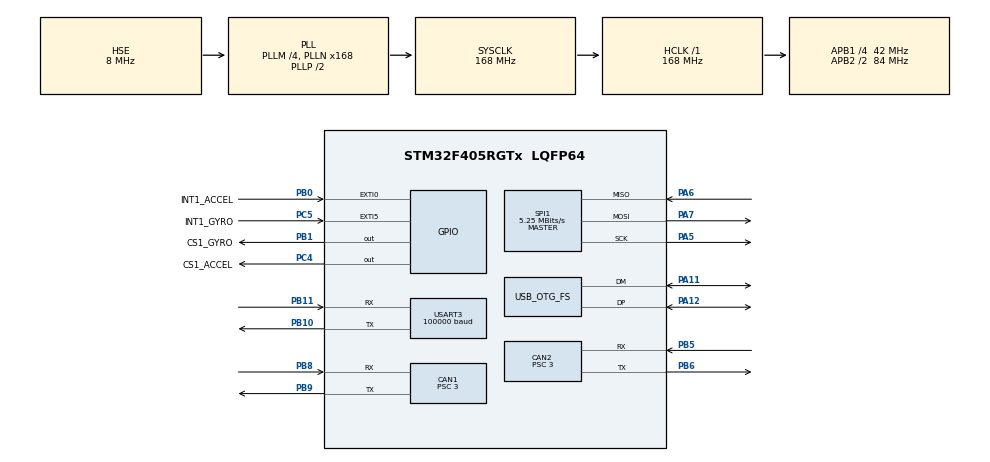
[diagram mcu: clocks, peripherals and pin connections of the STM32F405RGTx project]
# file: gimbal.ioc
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CAN1.ABOM=ENABLE
CAN1.BS1=CAN_BS1_12TQ
CAN1.CalculateBaudRate=1000000
CAN1.CalculateTimeBit=1000
CAN1.CalculateTimeQuantum=71.42857142857143
CAN1.NART=ENABLE
CAN1.Prescaler=3
CAN2.ABOM=ENABLE
CAN2.BS1=CAN_BS1_12TQ
CAN2.CalculateBaudRate=1000000
CAN2.CalculateTimeBit=1000
CAN2.CalculateTimeQuantum=71.42857142857143
CAN2.NART=ENABLE
CAN2.Prescaler=3
Dma.Request0=SPI1_RX
Dma.Request1=SPI1_TX
Dma.Request2=USART3_RX
Dma.SPI1_RX.0.Direction=DMA_PERIPH_TO_MEMORY
Dma.SPI1_RX.0.FIFOMode=DMA_FIFOMODE_DISABLE
Dma.SPI1_RX.0.Instance=DMA2_Stream0
Dma.SPI1_RX.0.MemDataAlignment=DMA_MDATAALIGN_BYTE
Dma.SPI1_RX.0.MemInc=DMA_MINC_ENABLE
Dma.SPI1_RX.0.Mode=DMA_NORMAL
Dma.SPI1_RX.0.PeriphDataAlignment=DMA_PDATAALIGN_BYTE
Dma.SPI1_RX.0.PeriphInc=DMA_PINC_DISABLE
Dma.SPI1_RX.0.Priority=DMA_PRIORITY_HIGH
Dma.SPI1_TX.1.Direction=DMA_MEMORY_TO_PERIPH
Dma.SPI1_TX.1.FIFOMode=DMA_FIFOMODE_DISABLE
Dma.SPI1_TX.1.Instance=DMA2_Stream3
Dma.SPI1_TX.1.MemDataAlignment=DMA_MDATAALIGN_BYTE
Dma.SPI1_TX.1.MemInc=DMA_MINC_ENABLE
Dma.SPI1_TX.1.Mode=DMA_NORMAL
Dma.SPI1_TX.1.PeriphDataAlignment=DMA_PDATAALIGN_BYTE
Dma.SPI1_TX.1.PeriphInc=DMA_PINC_DISABLE
Dma.SPI1_TX.1.Priority=DMA_PRIORITY_HIGH
Dma.USART3_RX.2.Direction=DMA_PERIPH_TO_MEMORY
Dma.USART3_RX.2.FIFOMode=DMA_FIFOMODE_DISABLE
Dma.USART3_RX.2.Instance=DMA1_Stream1
Dma.USART3_RX.2.MemDataAlignment=DMA_MDATAALIGN_BYTE
Dma.USART3_RX.2.MemInc=DMA_MINC_ENABLE
Dma.USART3_RX.2.Mode=DMA_CIRCULAR
Dma.USART3_RX.2.PeriphDataAlignment=DMA_PDATAALIGN_BYTE
Dma.USART3_RX.2.PeriphInc=DMA_PINC_DISABLE
Dma.USART3_RX.2.Priority=DMA_PRIORITY_VERY_HIGH
FREERTOS.Queues01=USBRxQueue,16,10,1,Dynamic,NULL,NULL;RCQueue,16,18,1,Dynamic,NULL,NULL
FREERTOS.Tasks01=gimbal_inPID,35,1024,gimbal_inPIDTask,As weak,NULL,Dynamic,NULL,NULL;bmi088Task,33,1024,Startbmi088Task,As weak,NULL,Dynamic,NULL,NULL;USB_RxTask,31,256,StartUSB_RxTask,As weak,NULL,Dynamic,NULL,NULL;chassis_inPID,32,256,chassis_inPIDTask,As weak,NULL,Dynamic,NULL,NULL;sentry_mode,24,256,StartSentry_modeTask,As weak,NULL,Dynamic,NULL,NULL;RC_Task,32,256,StartRC_Task,As weak,NULL,Dynamic,NULL,NULL
FREERTOS.configTOTAL_HEAP_SIZE=16480
Mcu.Family=STM32F4
Mcu.Name=STM32F405RGTx
Mcu.Package=LQFP64
NVIC.CAN1_RX0_IRQn=true\:5\:0\:true\:false\:true\:true\:true\:true\:true
NVIC.CAN1_TX_IRQn=true\:5\:0\:true\:false\:true\:true\:true\:true\:true
NVIC.CAN2_RX0_IRQn=true\:5\:0\:true\:false\:true\:true\:true\:true\:true
NVIC.CAN2_TX_IRQn=true\:5\:0\:true\:false\:true\:true\:true\:true\:true
NVIC.DMA1_Stream1_IRQn=true\:5\:0\:true\:false\:true\:true\:false\:true\:true
NVIC.DMA2_Stream0_IRQn=true\:5\:0\:false\:false\:true\:true\:false\:true\:true
NVIC.DMA2_Stream3_IRQn=true\:5\:0\:true\:false\:true\:true\:false\:true\:true
NVIC.EXTI0_IRQn=true\:5\:0\:false\:false\:true\:true\:true\:true\:true
NVIC.EXTI9_5_IRQn=true\:5\:0\:true\:false\:true\:true\:true\:true\:true
NVIC.FLASH_IRQn=true\:5\:0\:false\:false\:true\:true\:true\:true\:true
NVIC.FPU_IRQn=true\:5\:0\:false\:false\:true\:true\:true\:false\:true
NVIC.OTG_FS_IRQn=true\:5\:0\:true\:false\:true\:true\:true\:true\:true
NVIC.PVD_IRQn=true\:5\:0\:false\:false\:true\:true\:true\:true\:true
NVIC.PriorityGroup=NVIC_PRIORITYGROUP_4
NVIC.RCC_IRQn=true\:5\:0\:false\:false\:true\:true\:true\:false\:true
NVIC.SPI1_IRQn=true\:5\:0\:false\:false\:true\:true\:true\:true\:true
NVIC.TIM8_TRG_COM_TIM14_IRQn=true\:15\:0\:true\:false\:true\:false\:false\:true\:true
NVIC.TimeBase=TIM8_TRG_COM_TIM14_IRQn
NVIC.TimeBaseIP=TIM14
NVIC.USART3_IRQn=true\:5\:0\:true\:false\:true\:true\:true\:true\:true
PA11.Mode=Device_Only
PA11.Signal=USB_OTG_FS_DM
PA12.Mode=Device_Only
PA12.Signal=USB_OTG_FS_DP
PA13.Mode=Serial_Wire
PA13.Signal=SYS_JTMS-SWDIO
PA14.Mode=Serial_Wire
PA14.Signal=SYS_JTCK-SWCLK
PA5.GPIO_PuPd=GPIO_NOPULL
PA5.Mode=Full_Duplex_Master
PA5.Signal=SPI1_SCK
PA6.GPIO_PuPd=GPIO_NOPULL
PA6.Mode=Full_Duplex_Master
PA6.Signal=SPI1_MISO
PA7.GPIO_PuPd=GPIO_NOPULL
PA7.Mode=Full_Duplex_Master
PA7.Signal=SPI1_MOSI
PB0.GPIO_Label=INT1_ACCEL
PB0.GPIO_ModeDefaultEXTI=GPIO_MODE_IT_FALLING
PB0.GPIO_PuPd=GPIO_NOPULL
PB0.Signal=GPXTI0
PB1.GPIO_Label=CS1_GYRO
PB1.GPIO_ModeDefaultOutputPP=GPIO_MODE_OUTPUT_PP
PB1.GPIO_PuPd=GPIO_NOPULL
PB1.GPIO_Speed=GPIO_SPEED_FREQ_HIGH
PB1.PinState=GPIO_PIN_SET
PB1.Signal=GPIO_Output
PB10.Mode=Asynchronous
PB10.Signal=USART3_TX
PB11.GPIO_ModeDefaultPP=GPIO_MODE_AF_PP
PB11.GPIO_PuPd=GPIO_NOPULL
PB11.Mode=Asynchronous
PB11.Signal=USART3_RX
PB5.Mode=CAN_Activate
PB5.Signal=CAN2_RX
PB6.Mode=CAN_Activate
PB6.Signal=CAN2_TX
PB8.Mode=CAN_Activate
PB8.Signal=CAN1_RX
PB9.Mode=CAN_Activate
PB9.Signal=CAN1_TX
PC4.GPIO_Label=CS1_ACCEL
PC4.GPIO_PuPd=GPIO_NOPULL
PC4.GPIO_Speed=GPIO_SPEED_FREQ_HIGH
PC4.PinState=GPIO_PIN_SET
PC4.Signal=GPIO_Output
PC5.GPIO_Label=INT1_GYRO
PC5.GPIO_ModeDefaultEXTI=GPIO_MODE_IT_FALLING
PC5.GPIO_PuPd=GPIO_NOPULL
PC5.Signal=GPXTI5
PH0-OSC_IN.Mode=HSE-External-Oscillator
PH0-OSC_IN.Signal=RCC_OSC_IN
PH1-OSC_OUT.Mode=HSE-External-Oscillator
PH1-OSC_OUT.Signal=RCC_OSC_OUT
ProjectManager.HeapSize=0x200
ProjectManager.StackSize=0x400
ProjectManager.TargetToolchain=CMake
RCC.48MHZClocksFreq_Value=48000000
RCC.AHBFreq_Value=168000000
RCC.APB1CLKDivider=RCC_HCLK_DIV4
RCC.APB1Freq_Value=42000000
RCC.APB1TimFreq_Value=84000000
RCC.APB2CLKDivider=RCC_HCLK_DIV2
RCC.APB2Freq_Value=84000000
RCC.APB2TimFreq_Value=168000000
RCC.CortexFreq_Value=168000000
RCC.HCLKFreq_Value=168000000
RCC.HSE_VALUE=8000000
RCC.HSI_VALUE=16000000
RCC.LSE_VALUE=32768
RCC.PLLM=4
RCC.PLLN=168
RCC.PLLQ=7
RCC.SYSCLKFreq_VALUE=168000000
RCC.SYSCLKSource=RCC_SYSCLKSOURCE_PLLCLK
RCC.VCOOutputFreq_Value=336000000
SPI1.BaudRatePrescaler=SPI_BAUDRATEPRESCALER_16
SPI1.CLKPhase=SPI_PHASE_2EDGE
SPI1.CLKPolarity=SPI_POLARITY_HIGH
SPI1.CalculateBaudRate=5.25 MBits/s
SPI1.Direction=SPI_DIRECTION_2LINES
SPI1.Mode=SPI_MODE_MASTER
SPI1.VirtualType=VM_MASTER
USART3.BaudRate=100000
USART3.Mode=MODE_RX
USART3.Parity=PARITY_EVEN
USART3.StopBits=STOPBITS_2
USART3.VirtualMode=VM_ASYNC
USART3.WordLength=WORDLENGTH_9B
USB_DEVICE.CLASS_NAME_FS=CDC
USB_DEVICE.VirtualMode-CDC_FS=Cdc
USB_DEVICE.VirtualModeFS=Cdc_FS
USB_OTG_FS.VirtualMode=Device_Only
VP_FREERTOS_VS_CMSIS_V2.Mode=CMSIS_V2
VP_SYS_VS_tim14.Mode=TIM14
VP_USB_DEVICE_VS_USB_DEVICE_CDC_FS.Mode=CDC_FS
board=custom

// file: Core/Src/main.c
/* USER CODE BEGIN Header */
/**
  ******************************************************************************
  * @file           : main.c
  * @brief          : Main program body
  ******************************************************************************
  * @attention
  *
  * Copyright (c) 2026 STMicroelectronics.
  * All rights reserved.
  *
  * This software is licensed under terms that can be found in the LICENSE file
  * in the root directory of this software component.
  * If no LICENSE file comes with this software, it is provided AS-IS.
  *
  ******************************************************************************
  */
/* USER CODE END Header */
#include "main.h"
#include "cmsis_os.h"
#include "can.h"
#include "dma.h"
#include "spi.h"
#include "usart.h"
#include "usb_device.h"
#include "gpio.h"

/* USER CODE BEGIN Includes */
#include "BMI088driver.h"
#include "bsp_Motor.h"
#include "reg.h"
#include "bsp_rc.h"
#include "bsp_uart.h"
#include "gimbal.h"
#include "MyCAN.h"
#include "PID.h"
#include "bsp_bmi088.h"
#include "bsp_delay.h"
/* USER CODE END Includes */

/* USER CODE BEGIN PM */

uint8_t bmi_088_accel_id = 0,bmi_088_gyro_id = 0;
uint8_t *p_bmi_088_accel_id = &bmi_088_accel_id;
uint8_t *p_bmi_088_gyro_id = &bmi_088_gyro_id;

/* USER CODE END PM */

/* USER CODE BEGIN PV */
extern unsigned char sbus_rx_buffer[2][RC_FRAME_LENGTH];
/* USER CODE END PV */

void SystemClock_Config(void);
void MX_FREERTOS_Init(void);

int main(void)
{

  /* MCU Configuration--------------------------------------------------------*/

  /* Reset of all peripherals, Initializes the Flash interface and the Systick. */
  HAL_Init();

  /* Configure the system clock */
  SystemClock_Config();

  /* Initialize all configured peripherals */
  MX_GPIO_Init();
  MX_DMA_Init();
  MX_SPI1_Init();
  MX_CAN1_Init();
  MX_CAN2_Init();
  MX_USART3_UART_Init();
  /* USER CODE BEGIN 2 */
  /*****************************************************************
   *                    各种初始化
   *****************************************************************/
  delay_init();
  CAN_Init(&hcan1);
  CAN_Init(&hcan2);
  BMI088_init();
  // 注册UART5的DT7回调函数到drv_uart
  UART_Init(&huart3,UART3_DT7_Callback,RC_FRAME_LENGTH);

  // 上电PID清零
  PID_Clear(&p_reg->gimbal.yaw_pid.outer);
  PID_Clear(&p_reg->gimbal.yaw_pid.inner);
  PID_Clear(&p_reg->gimbal.pitch_pid.inner);
  PID_Clear(&p_reg->gimbal.pitch_pid.outer);
  PID_Clear(&p_reg->chassis.Speed_X_PID.outer);
  PID_Clear(&p_reg->chassis.Speed_Y_PID.outer);
  // 偏置清零
  calibrate_gyro_bias(10000,p_reg->gyro_bias,p_reg->accel_bias);

  /* USER CODE END 2 */

  /* Init scheduler */
  osKernelInitialize();  /* Call init function for freertos objects (in cmsis_os2.c) */
  MX_FREERTOS_Init();

  /* Start scheduler */
  osKernelStart();

  /* We should never get here as control is now taken by the scheduler */

  /* Infinite loop */
  while (1)
  {

  }
}

void SystemClock_Config(void)
{
  RCC_OscInitTypeDef RCC_OscInitStruct = {0};
  RCC_ClkInitTypeDef RCC_ClkInitStruct = {0};

  /** Configure the main internal regulator output voltage
  */
  __HAL_RCC_PWR_CLK_ENABLE();
  __HAL_PWR_VOLTAGESCALING_CONFIG(PWR_REGULATOR_VOLTAGE_SCALE1);

  /** Initializes the RCC Oscillators according to the specified parameters
  * in the RCC_OscInitTypeDef structure.
  */
  RCC_OscInitStruct.OscillatorType = RCC_OSCILLATORTYPE_HSE;
  RCC_OscInitStruct.HSEState = RCC_HSE_ON;
  RCC_OscInitStruct.PLL.PLLState = RCC_PLL_ON;
  RCC_OscInitStruct.PLL.PLLSource = RCC_PLLSOURCE_HSE;
  RCC_OscInitStruct.PLL.PLLM = 4;
  RCC_OscInitStruct.PLL.PLLN = 168;
  RCC_OscInitStruct.PLL.PLLP = RCC_PLLP_DIV2;
  RCC_OscInitStruct.PLL.PLLQ = 7;
  if (HAL_RCC_OscConfig(&RCC_OscInitStruct) != HAL_OK)
  {
    Error_Handler();
  }

  /** Initializes the CPU, AHB and APB buses clocks
  */
  RCC_ClkInitStruct.ClockType = RCC_CLOCKTYPE_HCLK|RCC_CLOCKTYPE_SYSCLK
                              |RCC_CLOCKTYPE_PCLK1|RCC_CLOCKTYPE_PCLK2;
  RCC_ClkInitStruct.SYSCLKSource = RCC_SYSCLKSOURCE_PLLCLK;
  RCC_ClkInitStruct.AHBCLKDivider = RCC_SYSCLK_DIV1;
  RCC_ClkInitStruct.APB1CLKDivider = RCC_HCLK_DIV4;
  RCC_ClkInitStruct.APB2CLKDivider = RCC_HCLK_DIV2;

  if (HAL_RCC_ClockConfig(&RCC_ClkInitStruct, FLASH_LATENCY_5) != HAL_OK)
  {
    Error_Handler();
  }
}

void HAL_TIM_PeriodElapsedCallback(TIM_HandleTypeDef *htim)
{
  if (htim->Instance == TIM14)
  {
    HAL_IncTick();
  }
}

void Error_Handler(void)
{
  __disable_irq();
  while (1)
  {
  }
}

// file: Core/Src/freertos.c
/* USER CODE BEGIN Header */
/**
  ******************************************************************************
  * File Name          : freertos.c
  * Description        : Code for freertos applications
  ******************************************************************************
  * @attention
  *
  * Copyright (c) 2026 STMicroelectronics.
  * All rights reserved.
  *
  * This software is licensed under terms that can be found in the LICENSE file
  * in the root directory of this software component.
  * If no LICENSE file comes with this software, it is provided AS-IS.
  *
  ******************************************************************************
  */
/* USER CODE END Header */

#include "FreeRTOS.h"
#include "task.h"
#include "main.h"
#include "cmsis_os.h"

/* Definitions for gimbal_inPID */
osThreadId_t gimbal_inPIDHandle;
const osThreadAttr_t gimbal_inPID_attributes = {
  .name = "gimbal_inPID",
  .stack_size = 1024 * 4,
  .priority = (osPriority_t) osPriorityAboveNormal3,
};
/* Definitions for bmi088Task */
osThreadId_t bmi088TaskHandle;
const osThreadAttr_t bmi088Task_attributes = {
  .name = "bmi088Task",
  .stack_size = 1024 * 4,
  .priority = (osPriority_t) osPriorityAboveNormal1,
};
/* Definitions for USB_RxTask */
osThreadId_t USB_RxTaskHandle;
const osThreadAttr_t USB_RxTask_attributes = {
  .name = "USB_RxTask",
  .stack_size = 256 * 4,
  .priority = (osPriority_t) osPriorityNormal7,
};
/* Definitions for chassis_inPID */
osThreadId_t chassis_inPIDHandle;
const osThreadAttr_t chassis_inPID_attributes = {
  .name = "chassis_inPID",
  .stack_size = 256 * 4,
  .priority = (osPriority_t) osPriorityAboveNormal,
};
/* Definitions for sentry_mode */
osThreadId_t sentry_modeHandle;
const osThreadAttr_t sentry_mode_attributes = {
  .name = "sentry_mode",
  .stack_size = 256 * 4,
  .priority = (osPriority_t) osPriorityNormal,
};
/* Definitions for RC_Task */
osThreadId_t RC_TaskHandle;
const osThreadAttr_t RC_Task_attributes = {
  .name = "RC_Task",
  .stack_size = 256 * 4,
  .priority = (osPriority_t) osPriorityAboveNormal,
};
/* Definitions for USBRxQueue */
osMessageQueueId_t USBRxQueueHandle;
const osMessageQueueAttr_t USBRxQueue_attributes = {
  .name = "USBRxQueue"
};
/* Definitions for RCQueue */
osMessageQueueId_t RCQueueHandle;
const osMessageQueueAttr_t RCQueue_attributes = {
  .name = "RCQueue"
};

void gimbal_inPIDTask(void *argument);
void Startbmi088Task(void *argument);
void StartUSB_RxTask(void *argument);
void chassis_inPIDTask(void *argument);
void StartSentry_modeTask(void *argument);
void StartRC_Task(void *argument);

extern void MX_USB_DEVICE_Init(void);
void MX_FREERTOS_Init(void); /* (MISRA C 2004 rule 8.1) */

void MX_FREERTOS_Init(void) {

  /* Create the queue(s) */
  /* creation of USBRxQueue */
  USBRxQueueHandle = osMessageQueueNew (16, 10, &USBRxQueue_attributes);

  /* creation of RCQueue */
  RCQueueHandle = osMessageQueueNew (16, 18, &RCQueue_attributes);

  /* Create the thread(s) */
  /* creation of gimbal_inPID */
  gimbal_inPIDHandle = osThreadNew(gimbal_inPIDTask, NULL, &gimbal_inPID_attributes);

  /* creation of bmi088Task */
  bmi088TaskHandle = osThreadNew(Startbmi088Task, NULL, &bmi088Task_attributes);

  /* creation of USB_RxTask */
  USB_RxTaskHandle = osThreadNew(StartUSB_RxTask, NULL, &USB_RxTask_attributes);

  /* creation of chassis_inPID */
  chassis_inPIDHandle = osThreadNew(chassis_inPIDTask, NULL, &chassis_inPID_attributes);

  /* creation of sentry_mode */
  sentry_modeHandle = osThreadNew(StartSentry_modeTask, NULL, &sentry_mode_attributes);

  /* creation of RC_Task */
  RC_TaskHandle = osThreadNew(StartRC_Task, NULL, &RC_Task_attributes);

}

__weak void gimbal_inPIDTask(void *argument)
{
  /* init code for USB_DEVICE */
  MX_USB_DEVICE_Init();
  for(;;)
  {
    osDelay(1);
  }
}

__weak void Startbmi088Task(void *argument)
{
  for(;;)
  {
    osDelay(1);
  }
}

__weak void StartUSB_RxTask(void *argument)
{
  for(;;)
  {
    osDelay(1);
  }
}

__weak void chassis_inPIDTask(void *argument)
{
  for(;;)
  {
    osDelay(1);
  }
}

__weak void StartSentry_modeTask(void *argument)
{
  for(;;)
  {
    osDelay(1);
  }
}

__weak void StartRC_Task(void *argument)
{
  for(;;)
  {
    osDelay(1);
  }
}
